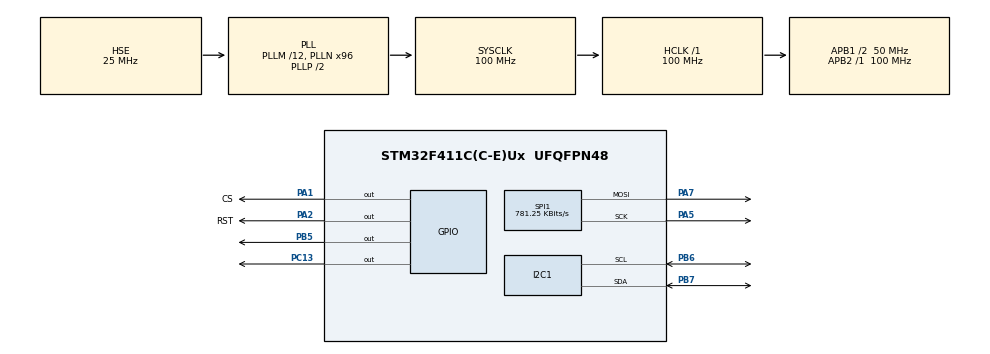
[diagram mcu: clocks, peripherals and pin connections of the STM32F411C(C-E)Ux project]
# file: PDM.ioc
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Mcu.Family=STM32F4
Mcu.Name=STM32F411C(C-E)Ux
Mcu.Package=UFQFPN48
NVIC.I2C1_ER_IRQn=true\:0\:0\:false\:false\:true\:true\:true\:true
NVIC.I2C1_EV_IRQn=true\:0\:0\:false\:false\:true\:true\:true\:true
NVIC.PriorityGroup=NVIC_PRIORITYGROUP_4
NVIC.SPI1_IRQn=true\:0\:0\:false\:false\:true\:true\:true\:true
NVIC.TIM2_IRQn=true\:1\:0\:true\:false\:true\:true\:true\:true
PA1.GPIO_Label=CS
PA1.Signal=GPIO_Output
PA13.Mode=Serial_Wire
PA13.Signal=SYS_JTMS-SWDIO
PA14.Mode=Serial_Wire
PA14.Signal=SYS_JTCK-SWCLK
PA2.GPIO_Label=RST
PA2.Signal=GPIO_Output
PA5.Mode=TX_Only_Simplex_Unidirect_Master
PA5.Signal=SPI1_SCK
PA7.Mode=TX_Only_Simplex_Unidirect_Master
PA7.Signal=SPI1_MOSI
PB5.Signal=GPIO_Output
PB6.Mode=I2C
PB6.Signal=I2C1_SCL
PB7.Mode=I2C
PB7.Signal=I2C1_SDA
PC13-ANTI_TAMP.Signal=GPIO_Output
PC14-OSC32_IN.Mode=LSE-External-Oscillator
PC14-OSC32_IN.Signal=RCC_OSC32_IN
PC15-OSC32_OUT.Mode=LSE-External-Oscillator
PC15-OSC32_OUT.Signal=RCC_OSC32_OUT
PH0\ -\ OSC_IN.Mode=HSE-External-Oscillator
PH0\ -\ OSC_IN.Signal=RCC_OSC_IN
PH1\ -\ OSC_OUT.Mode=HSE-External-Oscillator
PH1\ -\ OSC_OUT.Signal=RCC_OSC_OUT
ProjectManager.HeapSize=0x200
ProjectManager.StackSize=0x400
ProjectManager.TargetToolchain=STM32CubeIDE
RCC.48MHZClocksFreq_Value=50000000
RCC.AHBFreq_Value=100000000
RCC.APB1CLKDivider=RCC_HCLK_DIV2
RCC.APB1Freq_Value=50000000
RCC.APB1TimFreq_Value=100000000
RCC.APB2Freq_Value=100000000
RCC.APB2TimFreq_Value=100000000
RCC.CortexFreq_Value=100000000
RCC.HCLKFreq_Value=100000000
RCC.HSE_VALUE=25000000
RCC.HSI_VALUE=16000000
RCC.PLLM=12
RCC.PLLN=96
RCC.PLLSourceVirtual=RCC_PLLSOURCE_HSE
RCC.SYSCLKFreq_VALUE=100000000
RCC.SYSCLKSource=RCC_SYSCLKSOURCE_PLLCLK
RCC.VCOOutputFreq_Value=200000000
SPI1.BaudRatePrescaler=SPI_BAUDRATEPRESCALER_128
SPI1.CLKPhase=SPI_PHASE_2EDGE
SPI1.CLKPolarity=SPI_POLARITY_HIGH
SPI1.CalculateBaudRate=781.25 KBits/s
SPI1.Direction=SPI_DIRECTION_2LINES
SPI1.Mode=SPI_MODE_MASTER
SPI1.VirtualType=VM_MASTER
TIM2.Period=99
TIM2.Prescaler=999
TIM2.TIM_MasterOutputTrigger=TIM_TRGO_UPDATE
VP_TIM2_VS_ClockSourceINT.Mode=Internal
board=custom

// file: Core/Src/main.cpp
/* USER CODE BEGIN Header */
/**
  ******************************************************************************
  * @file           : main.c
  * @brief          : Main program body
  ******************************************************************************
  * @attention
  *
  * Copyright (c) 2024 STMicroelectronics.
  * All rights reserved.
  *
  * This software is licensed under terms that can be found in the LICENSE file
  * in the root directory of this software component.
  * If no LICENSE file comes with this software, it is provided AS-IS.
  *
  ******************************************************************************
  */
/* USER CODE END Header */
#include "main.h"
#include "i2c.h"
#include "spi.h"
#include "tim.h"
#include "gpio.h"

/* USER CODE BEGIN Includes */
#include <stdio.h>
#include <stdbool.h>
#include "ST7920_lib.h"
#include "string.h"
/* USER CODE END Includes */

/* USER CODE BEGIN PTD */
extern char tx_buffer[128]; //Буфер для отправки текста на дисплей
extern uint8_t Frame_buffer[1024]; //Буфер кадра

static const uint8_t TCS3472_ADDR = 0x29<<1;
uint8_t ENABLE_ADDR = 0x00;
uint8_t COMAND_BIT = 0x80;
uint8_t WHITE_COLOR_ADDR = 0x14;
uint8_t RED_COLOR_ADDR = 0x16;
uint8_t GREEN_COLOR_ADDR = 0x18;
uint8_t BLUE_COLOR_ADDR = 0x1A;
uint8_t COMAND_BIT_INC = 0xA0;
uint8_t PON = 0x01;
uint8_t AEN = 0x02;
uint8_t A_TIM_ADDR = 0x01;
uint8_t A_TIM_VALUE154 = 0x00;

uint8_t RxBufferRed[2];
uint8_t RxBufferGreen[2];
uint8_t RxBufferBlue[2];
uint8_t RxBufferWhite[2];
/* USER CODE END PTD */

void SystemClock_Config(void);

int main(void)
{

  /* MCU Configuration--------------------------------------------------------*/

  /* Reset of all peripherals, Initializes the Flash interface and the Systick. */
  HAL_Init();

  /* Configure the system clock */
  SystemClock_Config();

  /* Initialize all configured peripherals */
  MX_GPIO_Init();
  MX_SPI1_Init();
  MX_TIM2_Init();
  MX_I2C1_Init();
  /* USER CODE BEGIN 2 */
  HAL_Delay(100);
  ST7920_Init();
  ST7920_Graphic_mode(1);
  HAL_Delay(100);
  //HAL_GPIO_WritePin(GPIOB, GPIO_PIN_5, 0);

  	  HAL_I2C_Mem_Write(&hi2c1, TCS3472_ADDR, (ENABLE_ADDR|COMAND_BIT), 1, &PON, 1,1000);
  	  HAL_Delay(10);
      uint8_t K = (PON|AEN);
      HAL_I2C_Mem_Write(&hi2c1, TCS3472_ADDR, (ENABLE_ADDR|COMAND_BIT), 1, &K, 1,1000);
      HAL_Delay(50);
      HAL_I2C_Mem_Write(&hi2c1, TCS3472_ADDR, (A_TIM_ADDR|COMAND_BIT), 1, &A_TIM_VALUE154, 1,1000);
      HAL_Delay(50);
      uint16_t Red = 0;
      uint16_t Green = 0;
      uint16_t Blue = 0;
      uint16_t White = 0;

      uint16_t K1 = 23;

  /* USER CODE END 2 */

  /* Infinite loop */
  while (1)
  {

    /* USER CODE BEGIN 3 */
	  ST7920_Clean();
	  ST7920_Clean_Frame_buffer();

      HAL_I2C_Mem_Read_IT(&hi2c1, TCS3472_ADDR, RED_COLOR_ADDR|COMAND_BIT_INC , 1, RxBufferRed, 2);
      HAL_Delay(10);
      Red = (((uint16_t)(RxBufferRed[1]<<8))|(uint16_t)RxBufferRed[0])/K1;
	  sprintf(tx_buffer,"Красный:%ld",Red);
	  ST7920_Decode_UTF8(0, 0, 0, tx_buffer);

      HAL_I2C_Mem_Read_IT(&hi2c1, TCS3472_ADDR, GREEN_COLOR_ADDR|COMAND_BIT_INC , 1, RxBufferGreen, 2);
      HAL_Delay(10);
      Green = (((uint16_t)(RxBufferGreen[1]<<8))|(uint16_t)RxBufferGreen[0])/K1;
	  sprintf(tx_buffer,"Зеленый:%ld",Green);
	  ST7920_Decode_UTF8(0, 1, 0, tx_buffer);

      HAL_I2C_Mem_Read_IT(&hi2c1, TCS3472_ADDR, BLUE_COLOR_ADDR|COMAND_BIT_INC , 1, RxBufferBlue, 2);
      HAL_Delay(10);
      Blue = (((uint16_t)(RxBufferBlue[1]<<8))|(uint16_t)RxBufferBlue[0])/K1;
	  sprintf(tx_buffer,"Синий:%ld",Blue);
	  ST7920_Decode_UTF8(0, 2, 0, tx_buffer);

      HAL_I2C_Mem_Read_IT(&hi2c1, TCS3472_ADDR, WHITE_COLOR_ADDR|COMAND_BIT_INC , 1, RxBufferWhite, 2);
      HAL_Delay(10);
      White = (((uint16_t)(RxBufferWhite[1]<<8))|(uint16_t)RxBufferWhite[0])/K1;
	  sprintf(tx_buffer,"Освещенность:%ld",White);
	  ST7920_Decode_UTF8(0, 3, 0, tx_buffer);
	  ST7920_Update();

	  HAL_GPIO_TogglePin(GPIOC, GPIO_PIN_13);

  }
  /* USER CODE END 3 */
}

void SystemClock_Config(void)
{
  RCC_OscInitTypeDef RCC_OscInitStruct = {0};
  RCC_ClkInitTypeDef RCC_ClkInitStruct = {0};

  /** Configure the main internal regulator output voltage
  */
  __HAL_RCC_PWR_CLK_ENABLE();
  __HAL_PWR_VOLTAGESCALING_CONFIG(PWR_REGULATOR_VOLTAGE_SCALE1);

  /** Initializes the RCC Oscillators according to the specified parameters
  * in the RCC_OscInitTypeDef structure.
  */
  RCC_OscInitStruct.OscillatorType = RCC_OSCILLATORTYPE_HSE;
  RCC_OscInitStruct.HSEState = RCC_HSE_ON;
  RCC_OscInitStruct.PLL.PLLState = RCC_PLL_ON;
  RCC_OscInitStruct.PLL.PLLSource = RCC_PLLSOURCE_HSE;
  RCC_OscInitStruct.PLL.PLLM = 12;
  RCC_OscInitStruct.PLL.PLLN = 96;
  RCC_OscInitStruct.PLL.PLLP = RCC_PLLP_DIV2;
  RCC_OscInitStruct.PLL.PLLQ = 4;
  if (HAL_RCC_OscConfig(&RCC_OscInitStruct) != HAL_OK)
  {
    Error_Handler();
  }

  /** Initializes the CPU, AHB and APB buses clocks
  */
  RCC_ClkInitStruct.ClockType = RCC_CLOCKTYPE_HCLK|RCC_CLOCKTYPE_SYSCLK
                              |RCC_CLOCKTYPE_PCLK1|RCC_CLOCKTYPE_PCLK2;
  RCC_ClkInitStruct.SYSCLKSource = RCC_SYSCLKSOURCE_PLLCLK;
  RCC_ClkInitStruct.AHBCLKDivider = RCC_SYSCLK_DIV1;
  RCC_ClkInitStruct.APB1CLKDivider = RCC_HCLK_DIV2;
  RCC_ClkInitStruct.APB2CLKDivider = RCC_HCLK_DIV1;

  if (HAL_RCC_ClockConfig(&RCC_ClkInitStruct, FLASH_LATENCY_3) != HAL_OK)
  {
    Error_Handler();
  }
}

void Error_Handler(void)
{
  __disable_irq();
  while (1)
  {
  }
}
